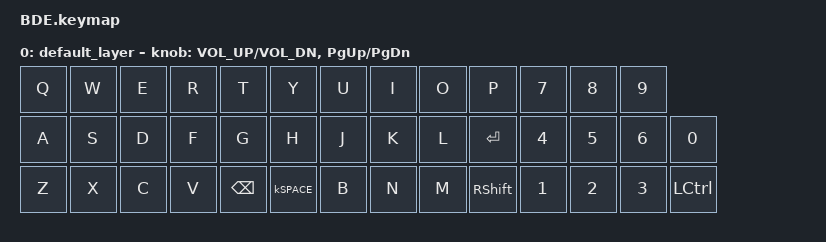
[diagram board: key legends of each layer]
#include <behaviors.dtsi>
#include <dt-bindings/zmk/keys.h>

/ {
    keymap {
        compatible = "zmk,keymap";

        default_layer {
// --------------------------------------------------------------------------------------------------------------------------------------------------------------------
// |    Q    |    W    |    E    |    R    |    T    |    Y    |    U    |    I    |    O    |    P    |    7    |    8    |    9    |   KNOB  |
// |    A    |    S    |    D    |    F    |    G    |    H    |    J    |    K    |    L    |   RET   |    4    |    5    |    6    |    0    |
// |    Z    |    X    |    C    |    V    |   BSPC  |  SPACE  |    B    |    N    |    M    |   SHFT  |    1    |    2    |    3    |   CTRL  |

            bindings = <
    &kp Q    &kp W    &kp E     &kp R     &kp T      &kp Y     &kp U     &kp I     &kp O     &kp P     &kp N7     &kp N8     &kp N9     
    &kp A    &kp S    &kp D     &kp F     &kp G      &kp H     &kp J     &kp K     &kp L     &kp RET   &kp N4     &kp N5     &kp N6     &kp N0
    &kp Z    &kp X    &kp C     &kp V     &kp BSPC   &kSPACE   &kp B     &kp N     &kp M     &kp RSHFT &kp N1     &kp N2     &kp N3     &kp LCTRL
                              
            >;

            sensor-bindings = <&inc_dec_kp C_VOL_UP C_VOL_DN &inc_dec_kp PG_UP PG_DN>;
        };
    };
};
